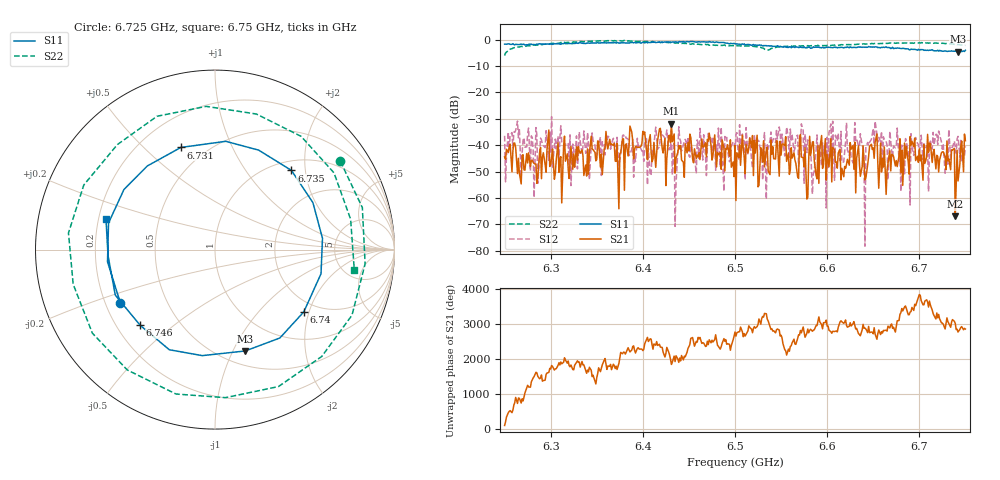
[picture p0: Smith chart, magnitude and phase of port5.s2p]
# Hz S RI R 50
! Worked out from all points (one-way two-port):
!   401 points, 6.25 GHz to 6.75 GHz, reference 50 ohm
!   highest |S21| = -31.88 dB at 6.431 GHz (marker M1); lowest = -67.0 dB at 6.739 GHz (marker M2)
!   lowest |S11| = -4.6 dB at 6.742 GHz (marker M3), VSWR 3.87, Z = 32.3 - j55.9 ohm
!   |S11| at or under -10 dB: nowhere
!   |S22| runs from -6.0 to -0.3 dB; largest |S21 - S12| = 0.044
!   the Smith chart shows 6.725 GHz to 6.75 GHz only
!   S11 on the Smith chart (normalised r, x): 6.725 GHz: 0.26, -0.24; 6.731 GHz: 0.37, +0.65; 6.735 GHz: 1.19, +1.68; 6.74 GHz: 1.69, -1.85; 6.746 GHz: 0.30, -0.39; 6.75 GHz: 0.23, +0.13
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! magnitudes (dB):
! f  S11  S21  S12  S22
! 6.25 GHz  -1.7  -44.5  -36.5  -6.0
! 6.334 GHz  -1.4  -41.8  -43.3  -0.7
! 6.408 GHz  -1.1  -36.0  -51.5  -0.8
! 6.418 GHz  -0.9  -33.9  -40.6  -0.9
! 6.431 GHz  -1.0  -31.9  -34.4  -1.1
! 6.435 GHz  -0.8  -50.6  -70.8  -1.3
! 6.441 GHz  -0.8  -40.1  -38.4  -1.4
! 6.5 GHz  -1.5  -40.1  -42.7  -2.3
! 6.552 GHz  -2.9  -39.5  -38.8  -2.6
! 6.578 GHz  -3.1  -60.4  -42.8  -2.4
! 6.584 GHz  -3.1  -38.8  -58.6  -2.3
! 6.604 GHz  -3.0  -37.6  -32.0  -2.2
! 6.64 GHz  -2.9  -46.1  -46.9  -1.6
! 6.668 GHz  -3.0  -42.1  -34.7  -1.3
! 6.725 GHz  -4.4  -42.5  -41.5  -1.4
! 6.731 GHz  -4.4  -45.9  -47.2  -1.5
! 6.735 GHz  -4.2  -41.8  -40.9  -1.6
! 6.739 GHz  -4.4  -67.0  -40.6  -1.7
! 6.74 GHz  -4.4  -55.2  -43.0  -1.8
! 6.742 GHz  -4.6  -53.6  -36.7  -1.8
! 6.746 GHz  -4.5  -38.5  -46.4  -2.0
! 6.75 GHz  -4.0  -38.3  -40.4  -2.1
